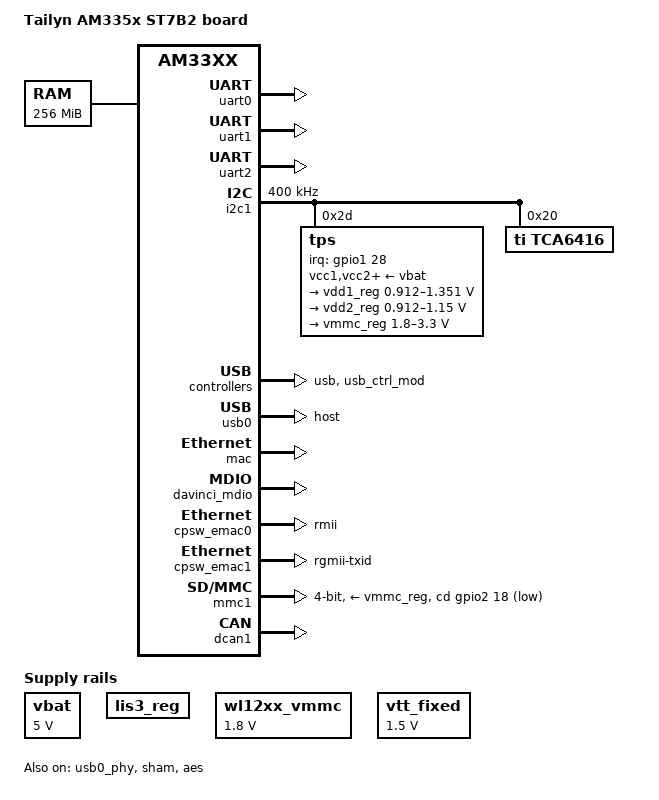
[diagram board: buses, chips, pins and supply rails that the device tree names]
/*
 * Copyright (C) 2016 Wig Cheng, <onlywig@gmail.com>
 * Copyright (C) 2012 Texas Instruments Incorporated - http://www.ti.com/
 *
 * This program is free software; you can redistribute it and/or modify
 * it under the terms of the GNU General Public License version 2 as
 * published by the Free Software Foundation.
 */

/*
 * AM335x Starter Kit
 * http://www.ti.com/tool/tmdssk3358
 */

/dts-v1/;

#include "am33xx.dtsi"
#include <dt-bindings/pwm/pwm.h>
#include <dt-bindings/interrupt-controller/irq.h>

/ {
	model = "Tailyn AM335x ST7B2 board";
	compatible = "ti,am335x-evmsk", "ti,am33xx";

	cpus {
		cpu@0 {
			cpu0-supply = <&vdd1_reg>;
		};
	};

	memory {
		device_type = "memory";
		reg = <0x80000000 0x10000000>; /* 256 MB */
	};

	vbat: fixedregulator@0 {
		compatible = "regulator-fixed";
		regulator-name = "vbat";
		regulator-min-microvolt = <5000000>;
		regulator-max-microvolt = <5000000>;
		regulator-boot-on;
	};

	lis3_reg: fixedregulator@1 {
		compatible = "regulator-fixed";
		regulator-name = "lis3_reg";
		regulator-boot-on;
	};

	wl12xx_vmmc: fixedregulator@2 {
		pinctrl-names = "default";
		pinctrl-0 = <&wl12xx_gpio>;
		compatible = "regulator-fixed";
		regulator-name = "vwl1271";
		regulator-min-microvolt = <1800000>;
		regulator-max-microvolt = <1800000>;
		startup-delay-us = <70000>;
		enable-active-high;
	};

	vtt_fixed: fixedregulator@3 {
		compatible = "regulator-fixed";
		regulator-name = "vtt";
		regulator-min-microvolt = <1500000>;
		regulator-max-microvolt = <1500000>;
		regulator-always-on;
		regulator-boot-on;
		enable-active-high;
	};

	gpio-edm {
		compatible = "gpio-edm";

		gp_in0 {
			label = "GP_IN0";
			gpios = <&tca6416 0 0>;
			dir   = "in";
		};

		gp_in1 {
			label = "GP_IN1";
			gpios = <&tca6416 1 0>;
			dir   = "in";
		};

		gp_in2 {
			label = "GP_IN2";
			gpios = <&tca6416 2 0>;
			dir   = "in";
		};

		gp_in3 {
			label = "GP_IN3";
			gpios = <&tca6416 3 0>;
			dir   = "in";
		};

		gp_out0 {
			label = "GP_OUT0";
			gpios = <&tca6416 4 0>;
			dir   = "out";
		};

		gp_out1 {
			label = "GP_OUT1";
			gpios = <&tca6416 5 0>;
			dir   = "out";
		};

		gp_out2 {
			label = "GP_OUT2";
			gpios = <&tca6416 6 0>;
			dir   = "out";
		};

		gp_out3 {
			label = "GP_OUT3";
			gpios = <&tca6416 7 0>;
			dir   = "out";
		};

		mode_a0 {
			label = "MODEA0";
			gpios = <&tca6416 8 1>;
			dir   = "out";
		};

		mode_a1 {
			label = "MODEA1";
			gpios = <&tca6416 9 0>;
			dir   = "out";
		};

		mode_a2 {
			label = "MODEA2";
			gpios = <&tca6416 10 0>;
			dir   = "out";
		};

		mode_a3 {
			label = "MODEA3";
			gpios = <&tca6416 11 0>;
			dir   = "out";
		};

		mode_b0 {
			label = "MODEB0";
			gpios = <&tca6416 12 1>;
			dir   = "out";
		};

		mode_b1 {
			label = "MODEB1";
			gpios = <&tca6416 13 0>;
			dir   = "out";
		};

		mode_b2 {
			label = "MODEB2";
			gpios = <&tca6416 14 0>;
			dir   = "out";
		};

		mode_b3 {
			label = "MODEB3";
			gpios = <&tca6416 15 0>;
			dir   = "out";
		};

	};
};

&am33xx_pinmux {
	pinctrl-names = "default";

	lcd_pins_default: lcd_pins_default {
		pinctrl-single,pins = <
			0x20 (PIN_OUTPUT | MUX_MODE1)	/* gpmc_ad8.lcd_data23 */
			0x24 (PIN_OUTPUT | MUX_MODE1)	/* gpmc_ad9.lcd_data22 */
			0x28 (PIN_OUTPUT | MUX_MODE1)	/* gpmc_ad10.lcd_data21 */
			0x2c (PIN_OUTPUT | MUX_MODE1)	/* gpmc_ad11.lcd_data20 */
			0x30 (PIN_OUTPUT | MUX_MODE1)	/* gpmc_ad12.lcd_data19 */
			0x34 (PIN_OUTPUT | MUX_MODE1)	/* gpmc_ad13.lcd_data18 */
			0x38 (PIN_OUTPUT | MUX_MODE1)	/* gpmc_ad14.lcd_data17 */
			0x3c (PIN_OUTPUT | MUX_MODE1)	/* gpmc_ad15.lcd_data16 */
			0xa0 (PIN_OUTPUT | MUX_MODE0)	/* lcd_data0.lcd_data0 */
			0xa4 (PIN_OUTPUT | MUX_MODE0)	/* lcd_data1.lcd_data1 */
			0xa8 (PIN_OUTPUT | MUX_MODE0)	/* lcd_data2.lcd_data2 */
			0xac (PIN_OUTPUT | MUX_MODE0)	/* lcd_data3.lcd_data3 */
			0xb0 (PIN_OUTPUT | MUX_MODE0)	/* lcd_data4.lcd_data4 */
			0xb4 (PIN_OUTPUT | MUX_MODE0)	/* lcd_data5.lcd_data5 */
			0xb8 (PIN_OUTPUT | MUX_MODE0)	/* lcd_data6.lcd_data6 */
			0xbc (PIN_OUTPUT | MUX_MODE0)	/* lcd_data7.lcd_data7 */
			0xc0 (PIN_OUTPUT | MUX_MODE0)	/* lcd_data8.lcd_data8 */
			0xc4 (PIN_OUTPUT | MUX_MODE0)	/* lcd_data9.lcd_data9 */
			0xc8 (PIN_OUTPUT | MUX_MODE0)	/* lcd_data10.lcd_data10 */
			0xcc (PIN_OUTPUT | MUX_MODE0)	/* lcd_data11.lcd_data11 */
			0xd0 (PIN_OUTPUT | MUX_MODE0)	/* lcd_data12.lcd_data12 */
			0xd4 (PIN_OUTPUT | MUX_MODE0)	/* lcd_data13.lcd_data13 */
			0xd8 (PIN_OUTPUT | MUX_MODE0)	/* lcd_data14.lcd_data14 */
			0xdc (PIN_OUTPUT | MUX_MODE0)	/* lcd_data15.lcd_data15 */
			0xe0 (PIN_OUTPUT | MUX_MODE0)	/* lcd_vsync.lcd_vsync */
			0xe4 (PIN_OUTPUT | MUX_MODE0)	/* lcd_hsync.lcd_hsync */
			0xe8 (PIN_OUTPUT | MUX_MODE0)	/* lcd_pclk.lcd_pclk */
			0xec (PIN_OUTPUT | MUX_MODE0)	/* lcd_ac_bias_en.lcd_ac_bias_en */
		>;
	};

	lcd_pins_sleep: lcd_pins_sleep {
		pinctrl-single,pins = <
			0x20 (PIN_INPUT_PULLDOWN | MUX_MODE7)	/* gpmc_ad8.lcd_data23 */
			0x24 (PIN_INPUT_PULLDOWN | MUX_MODE7)	/* gpmc_ad9.lcd_data22 */
			0x28 (PIN_INPUT_PULLDOWN | MUX_MODE7)	/* gpmc_ad10.lcd_data21 */
			0x2c (PIN_INPUT_PULLDOWN | MUX_MODE7)	/* gpmc_ad11.lcd_data20 */
			0x30 (PIN_INPUT_PULLDOWN | MUX_MODE7)	/* gpmc_ad12.lcd_data19 */
			0x34 (PIN_INPUT_PULLDOWN | MUX_MODE7)	/* gpmc_ad13.lcd_data18 */
			0x38 (PIN_INPUT_PULLDOWN | MUX_MODE7)	/* gpmc_ad14.lcd_data17 */
			0x3c (PIN_INPUT_PULLDOWN | MUX_MODE7)	/* gpmc_ad15.lcd_data16 */
			0xa0 (PULL_DISABLE | MUX_MODE7)	/* lcd_data0.lcd_data0 */
			0xa4 (PULL_DISABLE | MUX_MODE7)	/* lcd_data1.lcd_data1 */
			0xa8 (PULL_DISABLE | MUX_MODE7)	/* lcd_data2.lcd_data2 */
			0xac (PULL_DISABLE | MUX_MODE7)	/* lcd_data3.lcd_data3 */
			0xb0 (PULL_DISABLE | MUX_MODE7)	/* lcd_data4.lcd_data4 */
			0xb4 (PULL_DISABLE | MUX_MODE7)	/* lcd_data5.lcd_data5 */
			0xb8 (PULL_DISABLE | MUX_MODE7)	/* lcd_data6.lcd_data6 */
			0xbc (PULL_DISABLE | MUX_MODE7)	/* lcd_data7.lcd_data7 */
			0xc0 (PULL_DISABLE | MUX_MODE7)	/* lcd_data8.lcd_data8 */
			0xc4 (PULL_DISABLE | MUX_MODE7)	/* lcd_data9.lcd_data9 */
			0xc8 (PULL_DISABLE | MUX_MODE7)	/* lcd_data10.lcd_data10 */
			0xcc (PULL_DISABLE | MUX_MODE7)	/* lcd_data11.lcd_data11 */
			0xd0 (PULL_DISABLE | MUX_MODE7)	/* lcd_data12.lcd_data12 */
			0xd4 (PULL_DISABLE | MUX_MODE7)	/* lcd_data13.lcd_data13 */
			0xd8 (PULL_DISABLE | MUX_MODE7)	/* lcd_data14.lcd_data14 */
			0xdc (PULL_DISABLE | MUX_MODE7)	/* lcd_data15.lcd_data15 */
			0xe0 (PIN_INPUT_PULLDOWN | MUX_MODE7)	/* lcd_vsync.lcd_vsync */
			0xe4 (PIN_INPUT_PULLDOWN | MUX_MODE7)	/* lcd_hsync.lcd_hsync */
			0xe8 (PIN_INPUT_PULLDOWN | MUX_MODE7)	/* lcd_pclk.lcd_pclk */
			0xec (PIN_INPUT_PULLDOWN | MUX_MODE7)	/* lcd_ac_bias_en.lcd_ac_bias_en */
		>;
	};

	tps65910_pins:  pinmux_tps65910_pins {
		pinctrl-single,pins = <
			0x078 (PIN_INPUT_PULLUP | MUX_MODE7)      /* gpmc_ben1.gpio1_28 */
		>;
	};

	i2c1_pins: pinmux_i2c1_pins {
		pinctrl-single,pins = <
			0x158 (PIN_INPUT_PULLUP | MUX_MODE2)	/* spi0_d1.i2c1_sda */
			0x15c (PIN_INPUT_PULLUP | MUX_MODE2)	/* spi0_cs0.i2c1_scl */
		>;
	};

	uart0_pins: pinmux_uart0_pins {
		pinctrl-single,pins = <
			0x170 (PIN_INPUT_PULLUP | MUX_MODE0)	/* uart0_rxd.uart0_rxd */
			0x174 (PIN_OUTPUT_PULLDOWN | MUX_MODE0)		/* uart0_txd.uart0_txd */
		>;
	};

	uart1_pins: pinmux_uart1_pins {
		pinctrl-single,pins = <
			0x180 (PIN_INPUT_PULLUP | MUX_MODE0)	/* uart1_rxd.uart1_rxd */
			0x184 (PIN_OUTPUT_PULLDOWN | MUX_MODE0)		/* uart1_txd.uart1_txd */
		>;
	};

	uart2_pins: pinmux_uart2_pins {
		pinctrl-single,pins = <
			0x150 (PIN_INPUT_PULLUP | MUX_MODE1)	/* spi0_sclk.uart2_rxd */
			0x154 (PIN_OUTPUT_PULLDOWN | MUX_MODE1)		/* spi0_d0.uart2_txd */
		>;
	};

	cpsw_default: cpsw_default {
		pinctrl-single,pins = <
			/* Slave 1 */
			0x10c (PIN_INPUT_PULLDOWN | MUX_MODE1)  /* mii1_crs.rmii1_crs_dv */
			0x110 (PIN_INPUT_PULLDOWN | MUX_MODE1)  /*mii1_rxerr.rmii1_rxerr */
			0x114 (PIN_OUTPUT_PULLDOWN | MUX_MODE1) /* mii1_txen.rgmii_tctl */
			0x124 (PIN_OUTPUT_PULLDOWN | MUX_MODE1) /* mii1_txd1.rgmii_td1 */
			0x128 (PIN_OUTPUT_PULLDOWN | MUX_MODE1) /* mii1_txd0.rgmii_td0 */
			0x13c (PIN_INPUT_PULLDOWN | MUX_MODE1)  /* mii1_rxd1.rgmii_rd1 */
			0x140 (PIN_INPUT_PULLDOWN | MUX_MODE1)  /* mii1_rxd0.rgmii_rd0 */
			0x144 (PIN_INPUT_PULLDOWN | MUX_MODE0)  /* rmii1_ref_clk.rmii1_refclk*/

			/* Slave 2 */
			0x40 (PIN_OUTPUT_PULLDOWN | MUX_MODE2)	/* gpmc_a0.rgmii2_tctl */
			0x44 (PIN_INPUT_PULLDOWN | MUX_MODE2)	/* gpmc_a1.rgmii2_rctl */
			0x48 (PIN_OUTPUT_PULLDOWN | MUX_MODE2)	/* gpmc_a2.rgmii2_td3 */
			0x4c (PIN_OUTPUT_PULLDOWN | MUX_MODE2)	/* gpmc_a3.rgmii2_td2 */
			0x50 (PIN_OUTPUT_PULLDOWN | MUX_MODE2)	/* gpmc_a4.rgmii2_td1 */
			0x54 (PIN_OUTPUT_PULLDOWN | MUX_MODE2)	/* gpmc_a5.rgmii2_td0 */
			0x58 (PIN_OUTPUT_PULLDOWN | MUX_MODE2)	/* gpmc_a6.rgmii2_tclk */
			0x5c (PIN_INPUT_PULLDOWN | MUX_MODE2)	/* gpmc_a7.rgmii2_rclk */
			0x60 (PIN_INPUT_PULLDOWN | MUX_MODE2)	/* gpmc_a8.rgmii2_rd3 */
			0x64 (PIN_INPUT_PULLDOWN | MUX_MODE2)	/* gpmc_a9.rgmii2_rd2 */
			0x68 (PIN_INPUT_PULLDOWN | MUX_MODE2)	/* gpmc_a10.rgmii2_rd1 */
			0x6c (PIN_INPUT_PULLDOWN | MUX_MODE2)	/* gpmc_a11.rgmii2_rd0 */
		>;
	};

	cpsw_sleep: cpsw_sleep {
		pinctrl-single,pins = <
			/* Slave 1 reset value*/
			0x10c (PIN_INPUT_PULLDOWN | MUX_MODE7)
			0x110 (PIN_INPUT_PULLDOWN | MUX_MODE7)
			0x114 (PIN_OUTPUT_PULLDOWN | MUX_MODE7)
			0x124 (PIN_OUTPUT_PULLDOWN | MUX_MODE7)
			0x128 (PIN_OUTPUT_PULLDOWN | MUX_MODE7)
			0x13c (PIN_INPUT_PULLDOWN | MUX_MODE7)
			0x140 (PIN_INPUT_PULLDOWN | MUX_MODE7)
			0x144 (PIN_INPUT_PULLDOWN | MUX_MODE7)

			/* Slave 2 reset value*/
			0x40 (PIN_INPUT_PULLDOWN | MUX_MODE7)
			0x44 (PIN_INPUT_PULLDOWN | MUX_MODE7)
			0x48 (PIN_INPUT_PULLDOWN | MUX_MODE7)
			0x4c (PIN_INPUT_PULLDOWN | MUX_MODE7)
			0x50 (PIN_INPUT_PULLDOWN | MUX_MODE7)
			0x54 (PIN_INPUT_PULLDOWN | MUX_MODE7)
			0x58 (PIN_INPUT_PULLDOWN | MUX_MODE7)
			0x5c (PIN_INPUT_PULLDOWN | MUX_MODE7)
			0x60 (PIN_INPUT_PULLDOWN | MUX_MODE7)
			0x64 (PIN_INPUT_PULLDOWN | MUX_MODE7)
			0x68 (PIN_INPUT_PULLDOWN | MUX_MODE7)
			0x6c (PIN_INPUT_PULLDOWN | MUX_MODE7)
		>;
	};

	davinci_mdio_default: davinci_mdio_default {
		pinctrl-single,pins = <
			/* MDIO */
			0x148 (PIN_INPUT_PULLUP | SLEWCTRL_FAST | MUX_MODE0)	/* mdio_data.mdio_data */
			0x14c (PIN_OUTPUT_PULLUP | MUX_MODE0)			/* mdio_clk.mdio_clk */
		>;
	};

	davinci_mdio_sleep: davinci_mdio_sleep {
		pinctrl-single,pins = <
			/* MDIO reset value */
			0x148 (PIN_INPUT_PULLDOWN | MUX_MODE7)
			0x14c (PIN_INPUT_PULLDOWN | MUX_MODE7)
		>;
	};

	mmc1_pins: pinmux_mmc1_pins {
		pinctrl-single,pins = <
			0x134 (PIN_INPUT | MUX_MODE7) /* mii1_rxd3.gpio2_18 */
		>;
	};

	mmc2_pins: pinmux_mmc2_pins {
		pinctrl-single,pins = <
			0x74 (PIN_INPUT_PULLUP | MUX_MODE7) /* gpmc_wpn.gpio0_31 */
			0x80 (PIN_INPUT_PULLUP | MUX_MODE2) /* gpmc_csn1.mmc1_clk */
			0x84 (PIN_INPUT_PULLUP | MUX_MODE2) /* gpmc_csn2.mmc1_cmd */
			0x00 (PIN_INPUT_PULLUP | MUX_MODE1) /* gpmc_ad0.mmc1_dat0 */
			0x04 (PIN_INPUT_PULLUP | MUX_MODE1) /* gpmc_ad1.mmc1_dat1 */
			0x08 (PIN_INPUT_PULLUP | MUX_MODE1) /* gpmc_ad2.mmc1_dat2 */
			0x0c (PIN_INPUT_PULLUP | MUX_MODE1) /* gpmc_ad3.mmc1_dat3 */
		>;
	};

	wl12xx_gpio: pinmux_wl12xx_gpio {
		pinctrl-single,pins = <
			0x7c (PIN_OUTPUT_PULLUP | MUX_MODE7) /* gpmc_csn0.gpio1_29 */
		>;
	};

	dcan1_pins_default: dcan1_pins_default {
                pinctrl-single,pins = <
                        0x168 (PIN_OUTPUT | MUX_MODE2) /* uart0_ctsn.d_can1_tx */
                        0x16c (PIN_INPUT_PULLDOWN | MUX_MODE2) /* uart0_rtsn.d_can1_rx */
                >;
        };
};

&uart0 {
	pinctrl-names = "default";
	pinctrl-0 = <&uart0_pins>;
	status = "okay";
};

&uart1 {
	pinctrl-names = "default";
	pinctrl-0 = <&uart1_pins>;
	status = "okay";
};

&uart2 {
	pinctrl-names = "default";
	pinctrl-0 = <&uart2_pins>;
	status = "okay";
};

&rtc {
	status = "disabled";
};

&i2c1 {
	pinctrl-names = "default";
	pinctrl-0 = <&i2c1_pins>;

	status = "okay";
	clock-frequency = <400000>;

	tps: tps@2d {
		reg = <0x2d>;
		interrupt-parent = <&gpio1>;
		interrupts = <28 GPIO_ACTIVE_LOW>;
		pinctrl-names = "default";
		pinctrl-0 = <&tps65910_pins>;
	};

	tca6416:gpio@20 {
		compatible = "ti,tca6416";
		gpio-controller;
		#gpio-cells = <2>;
		#interrupt-cells = <2>;
		reg = <0x20>;
	};
};

&usb {
	status = "okay";
};

&usb_ctrl_mod {
	status = "okay";
};

&usb0_phy {
	status = "okay";
};

&usb0 {
	status = "okay";
	dr_mode = "host";
};

#include "tps65910.dtsi"

&tps {
	vcc1-supply = <&vbat>;
	vcc2-supply = <&vbat>;
	vcc3-supply = <&vbat>;
	vcc4-supply = <&vbat>;
	vcc5-supply = <&vbat>;
	vcc6-supply = <&vbat>;
	vcc7-supply = <&vbat>;
	vccio-supply = <&vbat>;

	regulators {
		vrtc_reg: regulator@0 {
			regulator-always-on;
		};

		vio_reg: regulator@1 {
			regulator-always-on;
		};

		vdd1_reg: regulator@2 {
			/* VDD_MPU voltage limits 0.95V - 1.26V with +/-4% tolerance */
			regulator-name = "vdd_mpu";
			regulator-min-microvolt = <912500>;
			regulator-max-microvolt = <1351500>;
			regulator-boot-on;
			regulator-always-on;
		};

		vdd2_reg: regulator@3 {
			/* VDD_CORE voltage limits 0.95V - 1.1V with +/-4% tolerance */
			regulator-name = "vdd_core";
			regulator-min-microvolt = <912500>;
			regulator-max-microvolt = <1150000>;
			regulator-boot-on;
			regulator-always-on;
		};

		vdd3_reg: regulator@4 {
			regulator-always-on;
		};

		vdig1_reg: regulator@5 {
			regulator-always-on;
		};

		vdig2_reg: regulator@6 {
			regulator-always-on;
		};

		vpll_reg: regulator@7 {
			regulator-always-on;
		};

		vdac_reg: regulator@8 {
			regulator-always-on;
		};

		vaux1_reg: regulator@9 {
			regulator-always-on;
		};

		vaux2_reg: regulator@10 {
			regulator-always-on;
		};

		vaux33_reg: regulator@11 {
			regulator-always-on;
		};

		vmmc_reg: regulator@12 {
			regulator-min-microvolt = <1800000>;
			regulator-max-microvolt = <3300000>;
			regulator-always-on;
		};
	};
};

&mac {
	pinctrl-names = "default", "sleep";
	pinctrl-0 = <&cpsw_default>;
	pinctrl-1 = <&cpsw_sleep>;
	dual_emac = <1>;
	status = "okay";
};

&davinci_mdio {
	pinctrl-names = "default", "sleep";
	pinctrl-0 = <&davinci_mdio_default>;
	pinctrl-1 = <&davinci_mdio_sleep>;
	status = "okay";
};

&phy_sel {
	rmii-clock-ext;
};

&cpsw_emac0 {
	phy_id = <&davinci_mdio>, <5>;
	phy-mode = "rmii";
	dual_emac_res_vlan = <1>;
};

&cpsw_emac1 {
	phy_id = <&davinci_mdio>, <7>;
	phy-mode = "rgmii-txid";
	dual_emac_res_vlan = <2>;
};

&mmc1 {
	status = "okay";
	vmmc-supply = <&vmmc_reg>;
	bus-width = <4>;
	pinctrl-names = "default";
	pinctrl-0 = <&mmc1_pins>;
	cd-gpios = <&gpio2 18 GPIO_ACTIVE_LOW>;
};

&sham {
	status = "okay";
};

&aes {
	status = "okay";
};

&gpio0 {
	ti,no-reset-on-init;
};

&dcan1 {
        status = "okay";    /* Enable only if Profile 1 is selected */
        pinctrl-names = "default";
        pinctrl-0 = <&dcan1_pins_default>;
};

&mmc2 {
	status = "disabled";
	vmmc-supply = <&wl12xx_vmmc>;
	ti,non-removable;
	bus-width = <4>;
	cap-power-off-card;
	pinctrl-names = "default";
	pinctrl-0 = <&mmc2_pins>;

	#address-cells = <1>;
	#size-cells = <0>;
	wlcore: wlcore@2 {
		compatible = "ti,wl1271";
		reg = <2>;
		interrupt-parent = <&gpio0>;
		interrupts = <31 IRQ_TYPE_LEVEL_HIGH>; /* gpio 31 */
		ref-clock-frequency = <38400000>;
	};
};



